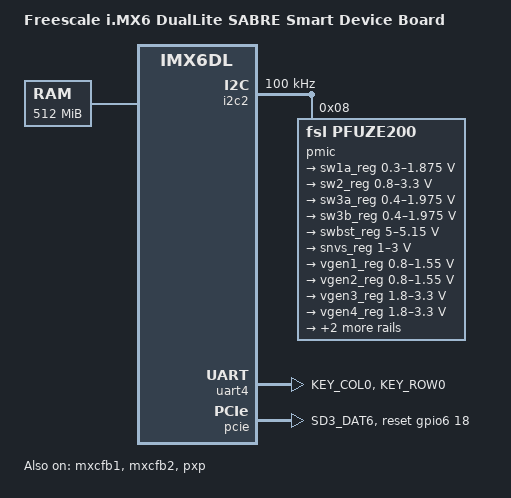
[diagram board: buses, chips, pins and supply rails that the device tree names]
/*
 * Copyright (C) 2013-2015 Freescale Semiconductor, Inc.
 *
 * This program is free software; you can redistribute it and/or modify
 * it under the terms of the GNU General Public License version 2 as
 * published by the Free Software Foundation.
 */

/dts-v1/;

#include "imx6dl.dtsi"
#include "imx6qdl-sabresd.dtsi"

/ {
	model = "Freescale i.MX6 DualLite SABRE Smart Device Board";
	compatible = "fsl,imx6dl-sabresd", "fsl,imx6dl";

	memory: memory {
		reg = <0x10000000 0x20000000>;
	};

};

&battery {
	offset-charger = <1485>;
	offset-discharger = <1464>;
	offset-usb-charger = <1285>;
	status = "disabled";
};

&iomuxc {
        epdc {
                pinctrl_epdc_0: epdcgrp-0 {
                        fsl,pins = <
                                MX6QDL_PAD_EIM_A16__EPDC_DATA00    0x80000000
                                MX6QDL_PAD_EIM_DA10__EPDC_DATA01   0x80000000
                                MX6QDL_PAD_EIM_DA12__EPDC_DATA02   0x80000000
                                MX6QDL_PAD_EIM_DA11__EPDC_DATA03   0x80000000
                                MX6QDL_PAD_EIM_LBA__EPDC_DATA04    0x80000000
                                MX6QDL_PAD_EIM_EB2__EPDC_DATA05    0x80000000
                                MX6QDL_PAD_EIM_CS0__EPDC_DATA06    0x80000000
                                MX6QDL_PAD_EIM_RW__EPDC_DATA07     0x80000000
                                MX6QDL_PAD_EIM_A21__EPDC_GDCLK     0x80000000
                                MX6QDL_PAD_EIM_A22__EPDC_GDSP      0x80000000
                                MX6QDL_PAD_EIM_A23__EPDC_GDOE      0x80000000
                                MX6QDL_PAD_EIM_A24__EPDC_GDRL      0x80000000
                                MX6QDL_PAD_EIM_D31__EPDC_SDCLK_P   0x80000000
                                MX6QDL_PAD_EIM_D27__EPDC_SDOE      0x80000000
                                MX6QDL_PAD_EIM_DA1__EPDC_SDLE      0x80000000
                                MX6QDL_PAD_EIM_EB1__EPDC_SDSHR     0x80000000
                                MX6QDL_PAD_EIM_DA2__EPDC_BDR0      0x80000000
                                MX6QDL_PAD_EIM_DA4__EPDC_SDCE0     0x80000000
                                MX6QDL_PAD_EIM_DA5__EPDC_SDCE1     0x80000000
                                MX6QDL_PAD_EIM_DA6__EPDC_SDCE2     0x80000000
                        >;
                };
        };

	uart4 {
		pinctrl_uart4_3: uart4grp-3 {
			fsl,pins = <
				MX6QDL_PAD_KEY_COL0__UART4_TX_DATA 	0x1b0b1
				MX6QDL_PAD_KEY_ROW0__UART4_RX_DATA 	0x1b0b1
			>;
		};
	};
	pcie {
		pinctrl_pcie_1: pciegrp-1 {
			fsl,pins = <
				MX6QDL_PAD_SD3_DAT6__GPIO6_IO18 0x1b0b0
			>;
		};
	};

};

&epdc {
        pinctrl-names = "default";
        pinctrl-0 = <&pinctrl_epdc_0>;
        V3P3-supply = <&V3P3_reg>;
        VCOM-supply = <&VCOM_reg>;
        DISPLAY-supply = <&DISPLAY_reg>;
        status = "disabled";
};

&i2c3 {
	status = "disabled";
        max17135@48 {
                compatible = "maxim,max17135";
                reg = <0x48>;
                vneg_pwrup = <1>;
                gvee_pwrup = <1>;
                vpos_pwrup = <2>;
                gvdd_pwrup = <1>;
                gvdd_pwrdn = <1>;
                vpos_pwrdn = <2>;
                gvee_pwrdn = <1>;
                vneg_pwrdn = <1>;
                SENSOR-supply = <&reg_sensor>;
                gpio_pmic_pwrgood = <&gpio2 21 0>;
                gpio_pmic_vcom_ctrl = <&gpio3 17 0>;
                gpio_pmic_wakeup = <&gpio3 20 0>;
                gpio_pmic_v3p3 = <&gpio2 20 0>;
                gpio_pmic_intr = <&gpio2 25 0>;

                regulators {
                        DISPLAY_reg: DISPLAY {
                                regulator-name = "DISPLAY";
                        };

                        GVDD_reg: GVDD {
                                /* 20v */
                                regulator-name = "GVDD";
                        };

                        GVEE_reg: GVEE {
                                /* -22v */
                                regulator-name = "GVEE";
                        };

                        HVINN_reg: HVINN {
                                /* -22v */
                                regulator-name = "HVINN";
                        };

                        HVINP_reg: HVINP {
                                /* 20v */
                                regulator-name = "HVINP";
                        };

                        VCOM_reg: VCOM {
                                regulator-name = "VCOM";
                                /* 2's-compliment, -4325000 */
                                regulator-min-microvolt = <0xffbe0178>;
                                /* 2's-compliment, -500000 */
                                regulator-max-microvolt = <0xfff85ee0>;
                        };

                        VNEG_reg: VNEG {
                                /* -15v */
                                regulator-name = "VNEG";
                        };

                        VPOS_reg: VPOS {
                                /* 15v */
                                regulator-name = "VPOS";
                        };

                        V3P3_reg: V3P3 {
                                regulator-name = "V3P3";
                        };
                };
        };
};

&ldb {
	lvds-channel@0 {
		crtc = "ipu1-di0";
	};

	lvds-channel@1 {
		crtc = "ipu1-di1";
	};
};

&mxcfb1 {
	status = "okay";
};

&mxcfb2 {
	status = "okay";
};

&pxp {
	status = "okay";
};

&i2c2 {
	clock-frequency = <100000>;
	pinctrl-names = "default";
	pinctrl-0 = <&pinctrl_i2c2>;
	status = "okay";

	pmic: pfuze100@08 {
		compatible = "fsl,pfuze200";
		reg = <0x08>;

		regulators {
			sw1a_reg: sw1ab {
				regulator-min-microvolt = <300000>;
				regulator-max-microvolt = <1875000>;
				regulator-boot-on;
				regulator-always-on;
				regulator-ramp-delay = <6250>;
			};

			sw2_reg: sw2 {
				regulator-min-microvolt = <800000>;
				regulator-max-microvolt = <3300000>;
				regulator-boot-on;
				regulator-always-on;
			};

			sw3a_reg: sw3a {
				regulator-min-microvolt = <400000>;
				regulator-max-microvolt = <1975000>;
				regulator-boot-on;
				regulator-always-on;
			};

			sw3b_reg: sw3b {
				regulator-min-microvolt = <400000>;
				regulator-max-microvolt = <1975000>;
				regulator-boot-on;
				regulator-always-on;
			};

			swbst_reg: swbst {
				regulator-min-microvolt = <5000000>;
				regulator-max-microvolt = <5150000>;
			};

			snvs_reg: vsnvs {
				regulator-min-microvolt = <1000000>;
				regulator-max-microvolt = <3000000>;
				regulator-boot-on;
				regulator-always-on;
			};

			vref_reg: vrefddr {
				regulator-boot-on;
				regulator-always-on;
			};

			vgen1_reg: vgen1 {
				regulator-min-microvolt = <800000>;
				regulator-max-microvolt = <1550000>;
			};

			vgen2_reg: vgen2 {
				regulator-min-microvolt = <800000>;
				regulator-max-microvolt = <1550000>;
			};

			vgen3_reg: vgen3 {
				regulator-min-microvolt = <1800000>;
				regulator-max-microvolt = <3300000>;
			};

			vgen4_reg: vgen4 {
				regulator-min-microvolt = <1800000>;
				regulator-max-microvolt = <3300000>;
				regulator-always-on;
			};

			vgen5_reg: vgen5 {
				regulator-min-microvolt = <1800000>;
				regulator-max-microvolt = <3300000>;
				regulator-always-on;
			};

			vgen6_reg: vgen6 {
				regulator-min-microvolt = <1800000>;
				regulator-max-microvolt = <3300000>;
				regulator-always-on;
			};
		};
	};
};

&uart4 {
	status = "okay";
	pinctrl-names = "default";
	pinctrl-0 = <&pinctrl_uart4_3>;
};

&pcie {
	pinctrl-names = "default";
	pinctrl-0 = <&pinctrl_pcie_1>;
	reset-gpio = <&gpio6 18 0>;

	clocks = <&clks IMX6QDL_CLK_PCIE_AXI>,
		<&clks IMX6QDL_CLK_LVDS2_GATE>,
		<&clks IMX6QDL_CLK_PCIE_REF_125M>;

	status = "okay";
};

&pwm1 {
	status = "disabled";
};
&pwm2 {
	status = "disabled";
};
&pwm3 {
	status = "disabled";
};
&pwm4 {
	status = "disabled";
};

&uart1 {
	status = "disabled";
};
&uart2 {
	status = "disabled";
};
&uart3 {
	status = "disabled";
};
&uart5 {
	status = "disabled";
};
